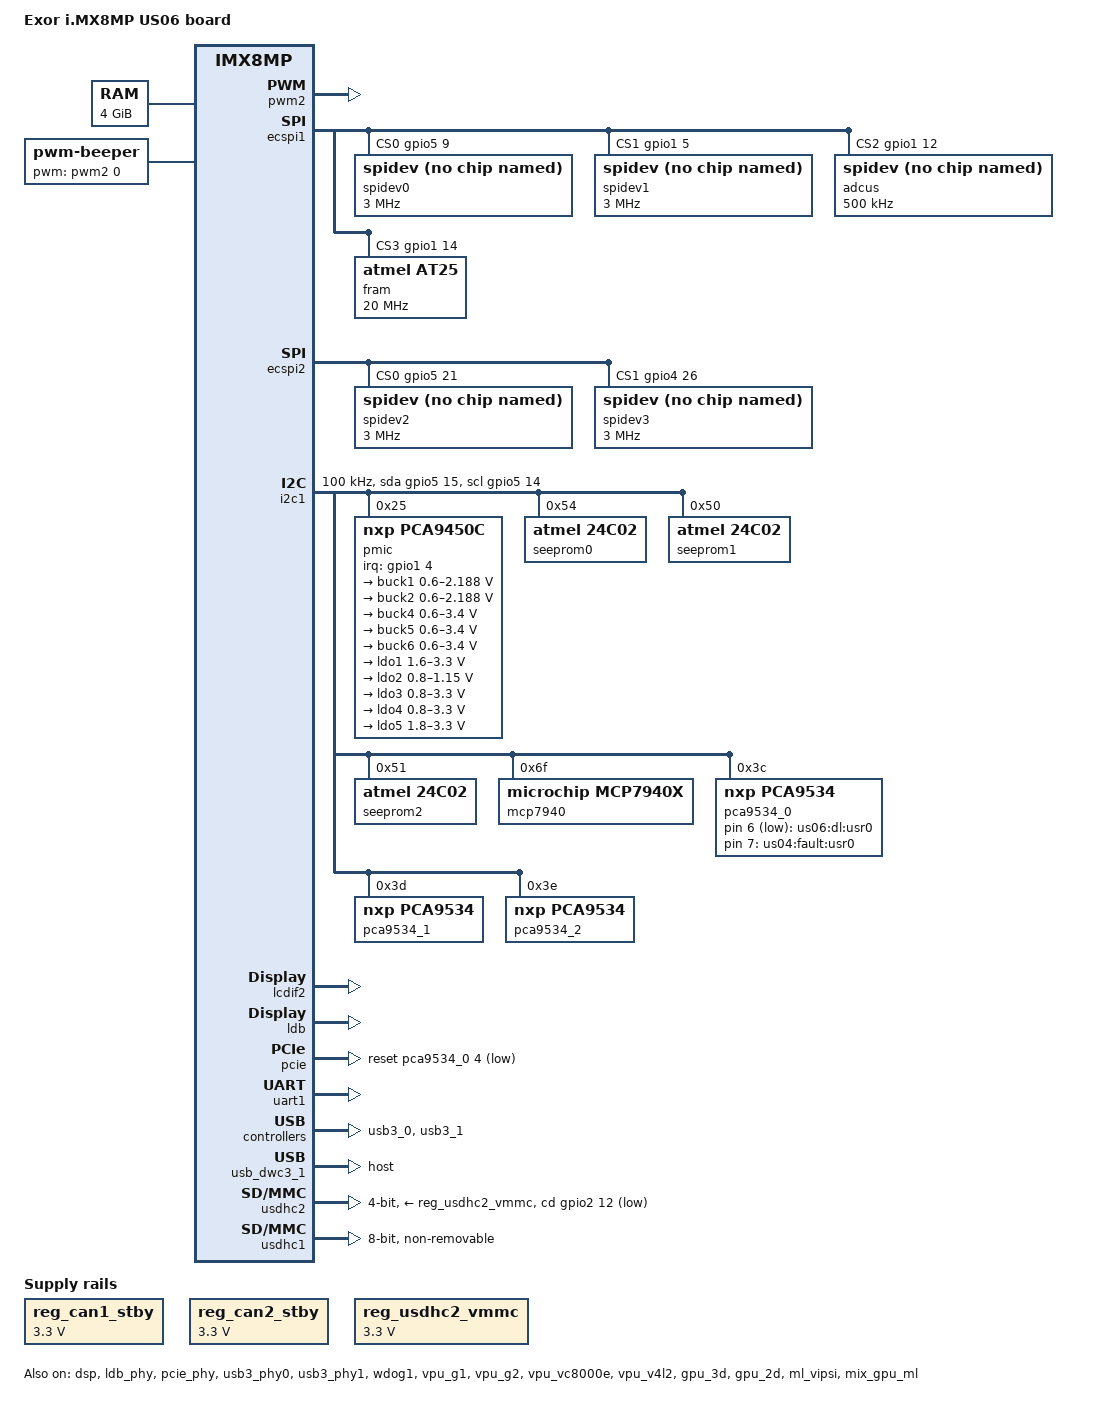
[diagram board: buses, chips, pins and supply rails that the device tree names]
// SPDX-License-Identifier: (GPL-2.0+ OR MIT)
/*
 * Copyright 2024 Exor Int. S.p.a.
 * Copyright 2019 NXP
 */

/dts-v1/;

#include <dt-bindings/usb/pd.h>
#include "imx8mp.dtsi"

/ {
	model = "Exor i.MX8MP US06 board";
	compatible = "fsl,imx8mp-evk", "fsl,imx8mp";

	aliases {
		mmc0 = &usdhc2;
		mmc1 = &usdhc1;
		spi0 = &ecspi1;
		spi1 = &ecspi2;
		can0 = &flexcan1;
		can1 = &flexcan2;
	};

//	chosen {
//		stdout-path = &uart1;
//	};

	gpio-leds {

		compatible = "gpio-leds";

		dlled@1 {
            label = "us06:dl:usr0";
            gpios = <&pca9534_0 6 1>;
            default-state = "on";
        };

        faultled@7 {
            label = "us04:fault:usr0";
            gpios = <&pca9534_0 7 0>;
            default-state = "off";
        };
	};

	memory@40000000 {
		device_type = "memory";
		reg = <0x0 0x40000000 0 0xc0000000>,
		      <0x1 0x00000000 0 0x40000000>;
	};

	reg_can1_stby: regulator-can1-stby {
		compatible = "regulator-fixed";
		regulator-name = "can1-stby";
		regulator-min-microvolt = <3300000>;
		regulator-max-microvolt = <3300000>;
		enable-active-high;
	};

	reg_can2_stby: regulator-can2-stby {
		compatible = "regulator-fixed";
		regulator-name = "can2-stby";
		regulator-min-microvolt = <3300000>;
		regulator-max-microvolt = <3300000>;
	};

	reg_usdhc2_vmmc: regulator-usdhc2 {
		compatible = "regulator-fixed";
		pinctrl-names = "default";
		pinctrl-0 = <&pinctrl_reg_usdhc2_vmmc>;
		regulator-name = "VSD_3V3";
		regulator-min-microvolt = <3300000>;
		regulator-max-microvolt = <3300000>;
	};

	beeper {
		compatible = "pwm-beeper";
		pwms = <&pwm2 0 50000 0>;
	};

};

&A53_0 {
	cpu-supply = <&buck2>;
};

&A53_1 {
	cpu-supply = <&buck2>;
};

&A53_2 {
	cpu-supply = <&buck2>;
};

&A53_3 {
	cpu-supply = <&buck2>;
};

&dsp {
	status = "okay";
};

&pwm2 { //Buzzer
	pinctrl-names = "default";
	pinctrl-0 = <&pinctrl_pwm2>;
	status = "okay";
};

&pwm4 { //DIMM
	pinctrl-names = "default";
	pinctrl-0 = <&pinctrl_pwm4>;
	status = "disabled";
};

&ecspi1 {
    fsl,spi-num-chipselects = <4>;
    cs-gpios = <&gpio5 9 0>,  /* CS0 */
               <&gpio1 5 0>,  /* CS1 */
               <&gpio1 12 0>, /* CS2 */
               <&gpio1 14 0>; /* CS3 */

	pinctrl-names = "default";
    pinctrl-0 = <&pinctrl_ecspi1>;
    status = "okay";
	/delete-property/dmas;
	/delete-property/dma-names;

    spidev0: spi0@0 {
        compatible = "generic,spidev";
        reg = <0>;
        spi-max-frequency = <3000000>;
    };

    spidev1: spi0@1 {
        compatible = "generic,spidev";
        reg = <1>;
        spi-max-frequency = <3000000>;
    };

    adcus: ads8028@2 { //Placeholder for ads8028 ADC
        compatible = "generic,spidev";
        reg = <2>;
        spi-max-frequency = <500000>;
    };

    fram: at25@3 {
        compatible = "atmel,at25", "st,m95256";
        reg = <3>;
        spi-max-frequency = <20000000>;
        pagesize = <64>;
        size = <65536>;
        address-width = <16>;
    };
};

&ecspi2 {
    fsl,spi-num-chipselects = <2>;
    cs-gpios = <&gpio5 21 0>,  /* CS0 */
               <&gpio4 26 0>;  /* CS1 */
    pinctrl-names = "default";
    pinctrl-0 = <&pinctrl_ecspi2>;
    status = "okay";

    spidev2: spi1@0 {
        compatible = "generic,spidev";
        reg = <0>;
        spi-max-frequency = <3000000>;
    };

    spidev3: spi1@1 {
        compatible = "generic,spidev";
        reg = <1>;
        spi-max-frequency = <3000000>;
    };
};

&flexcan1 {
	pinctrl-names = "default";
	pinctrl-0 = <&pinctrl_flexcan1>;
	xceiver-supply = <&reg_can1_stby>;
	status = "disabled";
};

&flexcan2 {
	pinctrl-names = "default";
	pinctrl-0 = <&pinctrl_flexcan2>;
	xceiver-supply = <&reg_can2_stby>;
	status = "disabled";
};

&i2c1 {
	clock-frequency = <100000>;
	pinctrl-names = "default", "gpio";
	pinctrl-0 = <&pinctrl_i2c1>;
	pinctrl-1 = <&pinctrl_i2c1_gpio>;
	scl-gpios = <&gpio5 14 GPIO_ACTIVE_HIGH>;
	sda-gpios = <&gpio5 15 GPIO_ACTIVE_HIGH>;
	status = "okay";

	pmic: pca9450@25 {
		reg = <0x25>;
		compatible = "nxp,pca9450c";
		/* PMIC PCA9450 PMIC_nINT GPIO1_IO3 */
		pinctrl-0 = <&pinctrl_pmic>;
		interrupt-parent = <&gpio1>;
		interrupts = <4 GPIO_ACTIVE_LOW>;

		regulators {
			buck1: BUCK1 {
				regulator-name = "BUCK1";
				regulator-min-microvolt = <600000>;
				regulator-max-microvolt = <2187500>;
				regulator-boot-on;
				regulator-always-on;
				regulator-ramp-delay = <3125>;
			};

			buck2: BUCK2 {
				regulator-name = "BUCK2";
				regulator-min-microvolt = <600000>;
				regulator-max-microvolt = <2187500>;
				regulator-boot-on;
				regulator-always-on;
				regulator-ramp-delay = <3125>;
				nxp,dvs-run-voltage = <950000>;
				nxp,dvs-standby-voltage = <850000>;
			};

			buck4: BUCK4{
				regulator-name = "BUCK4";
				regulator-min-microvolt = <600000>;
				regulator-max-microvolt = <3400000>;
				regulator-boot-on;
				regulator-always-on;
			};

			buck5: BUCK5{
				regulator-name = "BUCK5";
				regulator-min-microvolt = <600000>;
				regulator-max-microvolt = <3400000>;
				regulator-boot-on;
				regulator-always-on;
			};

			buck6: BUCK6 {
				regulator-name = "BUCK6";
				regulator-min-microvolt = <600000>;
				regulator-max-microvolt = <3400000>;
				regulator-boot-on;
				regulator-always-on;
			};

			ldo1: LDO1 {
				regulator-name = "LDO1";
				regulator-min-microvolt = <1600000>;
				regulator-max-microvolt = <3300000>;
				regulator-boot-on;
				regulator-always-on;
			};

			ldo2: LDO2 {
				regulator-name = "LDO2";
				regulator-min-microvolt = <800000>;
				regulator-max-microvolt = <1150000>;
				regulator-boot-on;
				regulator-always-on;
			};

			ldo3: LDO3 {
				regulator-name = "LDO3";
				regulator-min-microvolt = <800000>;
				regulator-max-microvolt = <3300000>;
				regulator-boot-on;
				regulator-always-on;
			};

			ldo4: LDO4 {
				regulator-name = "LDO4";
				regulator-min-microvolt = <800000>;
				regulator-max-microvolt = <3300000>;
				regulator-boot-on;
				regulator-always-on;
			};

			ldo5: LDO5 {
				regulator-name = "LDO5";
				regulator-min-microvolt = <1800000>;
				regulator-max-microvolt = <3300000>;
				regulator-boot-on;
				regulator-always-on;
			};
		};
	};

	seeprom0:seeprom0@54 {
        compatible = "atmel,24c02";
        reg = <0x54>;
    };

    seeprom1:seeprom1@50 {
        compatible = "atmel,24c02";
        reg = <0x50>;
    };

    seeprom2:seeprom2@51 {
        compatible = "atmel,24c02";
        reg = <0x51>;
    };

    mcp7940:mcp7940@6f {
        compatible = "microchip,mcp7940x";
        reg = <0x6f>;
    };

    pca9534_0: pca9534@3c {
        compatible = "nxp,pca9534";
        gpio-controller;
        #gpio-cells = <2>;
        reg = <0x3c>;
        restart-if-fails;
    };

    pca9534_1: pca9534@3d {
        compatible = "nxp,pca9534";
        gpio-controller;
        #gpio-cells = <2>;
        reg = <0x3d>;
    };

    pca9534_2: pca9534@3e {
        compatible = "nxp,pca9534";
        gpio-controller;
        #gpio-cells = <2>;
        reg = <0x3e>;
    };
};

&lcdif1 {
	status = "disabled";
};

&lcdif2 {
	status = "okay";
};

&lcdif3 {
	status = "disabled";

	thres-low  = <1 2>;             /* (FIFO * 1 / 2) */
	thres-high = <3 4>;             /* (FIFO * 3 / 4) */
};

&ldb {
	status = "okay";
};

&ldb_phy {
	status = "okay";
};

&pcie{
	reset-gpio = <&pca9534_0 4 GPIO_ACTIVE_LOW>;
	ext_osc = <1>;
	clocks = <&clk IMX8MP_CLK_HSIO_ROOT>,
		 <&clk IMX8MP_CLK_PCIE_AUX>,
		 <&clk IMX8MP_CLK_HSIO_AXI>,
		 <&clk IMX8MP_CLK_PCIE_ROOT>;
	clock-names = "pcie", "pcie_aux", "pcie_phy", "pcie_bus";
	assigned-clocks = <&clk IMX8MP_CLK_HSIO_AXI>,
			  <&clk IMX8MP_CLK_PCIE_AUX>;
	assigned-clock-rates = <500000000>, <10000000>;
	assigned-clock-parents = <&clk IMX8MP_SYS_PLL2_500M>,
				 <&clk IMX8MP_SYS_PLL2_50M>;
	l1ss-disabled;
	status = "okay";
};

&pcie_phy{
	ext_osc = <1>;
	status = "okay";
};

&uart1 {
	assigned-clocks = <&clk IMX8MP_CLK_UART1>;
	assigned-clock-parents = <&clk IMX8MP_SYS_PLL1_80M>;
	fsl,uart-has-rtscts;
	status = "okay";
};

&uart2 {
	assigned-clocks = <&clk IMX8MP_CLK_UART2>;
	assigned-clock-parents = <&clk IMX8MP_SYS_PLL1_80M>;
	fsl,uart-has-rtscts;
	status = "disabled";
};

&uart4 {
	assigned-clocks = <&clk IMX8MP_CLK_UART4>;
	assigned-clock-parents = <&clk IMX8MP_SYS_PLL1_80M>;
	fsl,uart-has-rtscts;
	status = "disabled";
};

&usb3_phy0 {
	fsl,phy-tx-vref-tune = <0xe>;
	fsl,phy-tx-preemp-amp-tune = <3>;
	fsl,phy-tx-vboost-level = <5>;
	fsl,phy-comp-dis-tune = <7>;
	fsl,pcs-tx-deemph-3p5db = <0x21>;
	fsl,phy-pcs-tx-swing-full = <0x7f>;
	status = "okay";
};

&usb3_0 {
	status = "okay";
};

&usb3_phy1 {
	fsl,phy-tx-preemp-amp-tune = <3>;
	fsl,phy-tx-vref-tune = <0xb>;
	status = "okay";
};

&usb3_1 {
	status = "okay";
};

&usb_dwc3_1 {
	dr_mode = "host";
	status = "okay";
};

&usdhc2 {
	assigned-clocks = <&clk IMX8MP_CLK_USDHC2>;
	assigned-clock-rates = <400000000>;
	pinctrl-names = "default";
	pinctrl-0 = <&pinctrl_usdhc2>, <&pinctrl_usdhc2_gpio>;
	cd-gpios = <&gpio2 12 GPIO_ACTIVE_LOW>;
	vmmc-supply = <&reg_usdhc2_vmmc>;
	bus-width = <4>;
	status = "okay";
};

&usdhc1 {
	assigned-clocks = <&clk IMX8MP_CLK_USDHC1>;
	assigned-clock-rates = <400000000>;
	pinctrl-names = "default", "state_100mhz", "state_200mhz";
	pinctrl-0 = <&pinctrl_usdhc1>;
	pinctrl-1 = <&pinctrl_usdhc1_100mhz>;
	pinctrl-2 = <&pinctrl_usdhc1_200mhz>;
	bus-width = <8>;
	non-removable;
	status = "okay";
};

&wdog1 {
	pinctrl-names = "default";
	pinctrl-0 = <&pinctrl_wdog>;
	fsl,ext-reset-output;
	status = "okay";
};

&iomuxc {
	pinctrl-names = "default";
	pinctrl-0 = <&pinctrl_hog>;

	imx8mm-evk {

	pinctrl_hog: hoggrp {
		fsl,pins = <
			MX8MP_IOMUXC_HDMI_DDC_SCL__HDMIMIX_HDMI_SCL	0x400001c3
			MX8MP_IOMUXC_HDMI_DDC_SDA__HDMIMIX_HDMI_SDA	0x400001c3
			MX8MP_IOMUXC_HDMI_HPD__HDMIMIX_HDMI_HPD		0x40000019
			MX8MP_IOMUXC_HDMI_CEC__HDMIMIX_HDMI_CEC		0x40000019
		>;
	};

	pinctrl_pwm2: pwm2grp {
		fsl,pins = <
			MX8MP_IOMUXC_GPIO1_IO11__PWM2_OUT	0x116
		>;
	};

	pinctrl_pwm4: pwm4grp {
		fsl,pins = <
			MX8MP_IOMUXC_GPIO1_IO15__PWM4_OUT	0x116
		>;
	};

	pinctrl_ecspi1: ecspi1grp {
		fsl,pins = <
			MX8MP_IOMUXC_ECSPI1_SCLK__ECSPI1_SCLK       0x82
			MX8MP_IOMUXC_ECSPI1_MOSI__ECSPI1_MOSI       0x82
			MX8MP_IOMUXC_ECSPI1_MISO__ECSPI1_MISO       0x82
			MX8MP_IOMUXC_ECSPI1_SS0__GPIO5_IO09         0x106
			MX8MP_IOMUXC_GPIO1_IO05__GPIO1_IO05         0x106
			MX8MP_IOMUXC_GPIO1_IO12__GPIO1_IO12         0x106
			MX8MP_IOMUXC_GPIO1_IO14__GPIO1_IO14         0x106
		>;
	};

	pinctrl_ecspi2: ecspi2grp {
		fsl,pins = <
			MX8MP_IOMUXC_I2C3_SDA__ECSPI2_MOSI       0x82
			MX8MP_IOMUXC_I2C4_SCL__ECSPI2_MISO       0x82
			MX8MP_IOMUXC_I2C3_SCL__ECSPI2_SCLK       0x82
			MX8MP_IOMUXC_I2C4_SDA__GPIO5_IO21        0x106
			MX8MP_IOMUXC_SAI2_TXD0__GPIO4_IO26       0x106
		>;
	};

	pinctrl_flexcan1: flexcan1grp {
		fsl,pins = <
			MX8MP_IOMUXC_SPDIF_RX__CAN1_RX          0x154
			MX8MP_IOMUXC_SPDIF_TX__CAN1_TX          0x154
		>;
	};

	pinctrl_flexcan2: flexcan2grp {
		fsl,pins = <
			MX8MP_IOMUXC_UART3_RXD__CAN2_TX		0x154
			MX8MP_IOMUXC_UART3_TXD__CAN2_RX		0x154
		>;
	};

	pinctrl_i2c1: i2c1grp {
		fsl,pins = <
			MX8MP_IOMUXC_I2C1_SCL__I2C1_SCL		0x400001c2
			MX8MP_IOMUXC_I2C1_SDA__I2C1_SDA		0x400001c2
		>;
	};

	pinctrl_i2c1_gpio: i2c1grpgpio {
		fsl,pins = <
			MX8MP_IOMUXC_I2C1_SCL__GPIO5_IO14        0x1c4
			MX8MP_IOMUXC_I2C1_SDA__GPIO5_IO15        0x1c4
		>;
	};

	pinctrl_pmic: pmicirq {
		fsl,pins = <
			MX8MP_IOMUXC_GPIO1_IO04__GPIO1_IO04	0x41
		>;
	};

	pinctrl_reg_usdhc2_vmmc: regusdhc2vmmcgrp {
		fsl,pins = <
			MX8MP_IOMUXC_SD2_RESET_B__GPIO2_IO19	0x41
		>;
	};

	pinctrl_usdhc2: usdhc2grp {
		fsl,pins = <
			MX8MP_IOMUXC_SD2_CLK__USDHC2_CLK	0x190
			MX8MP_IOMUXC_SD2_CMD__USDHC2_CMD	0x1d0
			MX8MP_IOMUXC_SD2_DATA0__USDHC2_DATA0	0x1d0
			MX8MP_IOMUXC_SD2_DATA1__USDHC2_DATA1	0x1d0
			MX8MP_IOMUXC_SD2_DATA2__USDHC2_DATA2	0x1d0
			MX8MP_IOMUXC_SD2_DATA3__USDHC2_DATA3	0x1d0
		>;
	};

	pinctrl_usdhc2_gpio: usdhc2gpiogrp {
		fsl,pins = <
			MX8MP_IOMUXC_SD2_CD_B__GPIO2_IO12	0x1c4
		>;
	};

	pinctrl_usdhc1: usdhc1grp {
		fsl,pins = <
			MX8MP_IOMUXC_SD1_CLK__USDHC1_CLK	0x190
			MX8MP_IOMUXC_SD1_CMD__USDHC1_CMD	0x1d0
			MX8MP_IOMUXC_SD1_DATA0__USDHC1_DATA0	0x1d0
			MX8MP_IOMUXC_SD1_DATA1__USDHC1_DATA1	0x1d0
			MX8MP_IOMUXC_SD1_DATA2__USDHC1_DATA2	0x1d0
			MX8MP_IOMUXC_SD1_DATA3__USDHC1_DATA3	0x1d0
			MX8MP_IOMUXC_SD1_DATA4__USDHC1_DATA4	0x1d0
			MX8MP_IOMUXC_SD1_DATA5__USDHC1_DATA5	0x1d0
			MX8MP_IOMUXC_SD1_DATA6__USDHC1_DATA6	0x1d0
			MX8MP_IOMUXC_SD1_DATA7__USDHC1_DATA7	0x1d0
			MX8MP_IOMUXC_SD1_STROBE__USDHC1_STROBE	0x190
		>;
	};

	pinctrl_usdhc1_100mhz: usdhc1-100mhzgrp {
		fsl,pins = <
			MX8MP_IOMUXC_SD1_CLK__USDHC1_CLK	0x194
			MX8MP_IOMUXC_SD1_CMD__USDHC1_CMD	0x1d4
			MX8MP_IOMUXC_SD1_DATA0__USDHC1_DATA0	0x1d4
			MX8MP_IOMUXC_SD1_DATA1__USDHC1_DATA1	0x1d4
			MX8MP_IOMUXC_SD1_DATA2__USDHC1_DATA2	0x1d4
			MX8MP_IOMUXC_SD1_DATA3__USDHC1_DATA3	0x1d4
			MX8MP_IOMUXC_SD1_DATA4__USDHC1_DATA4	0x1d4
			MX8MP_IOMUXC_SD1_DATA5__USDHC1_DATA5	0x1d4
			MX8MP_IOMUXC_SD1_DATA6__USDHC1_DATA6	0x1d4
			MX8MP_IOMUXC_SD1_DATA7__USDHC1_DATA7	0x1d4
			MX8MP_IOMUXC_SD1_STROBE__USDHC1_STROBE	0x194
		>;
	};

	pinctrl_usdhc1_200mhz: usdhc1-200mhzgrp {
		fsl,pins = <
			MX8MP_IOMUXC_SD1_CLK__USDHC1_CLK	0x196
			MX8MP_IOMUXC_SD1_CMD__USDHC1_CMD	0x1d6
			MX8MP_IOMUXC_SD1_DATA0__USDHC1_DATA0	0x1d6
			MX8MP_IOMUXC_SD1_DATA1__USDHC1_DATA1	0x1d6
			MX8MP_IOMUXC_SD1_DATA2__USDHC1_DATA2	0x1d6
			MX8MP_IOMUXC_SD1_DATA3__USDHC1_DATA3	0x1d6
			MX8MP_IOMUXC_SD1_DATA4__USDHC1_DATA4	0x1d6
			MX8MP_IOMUXC_SD1_DATA5__USDHC1_DATA5	0x1d6
			MX8MP_IOMUXC_SD1_DATA6__USDHC1_DATA6	0x1d6
			MX8MP_IOMUXC_SD1_DATA7__USDHC1_DATA7	0x1d6
			MX8MP_IOMUXC_SD1_STROBE__USDHC1_STROBE	0x196
		>;
	};

	pinctrl_wdog: wdoggrp {
		fsl,pins = <
			MX8MP_IOMUXC_GPIO1_IO02__WDOG1_WDOG_B	0xc6
		>;
	};
	};
};

&vpu_g1 {
	status = "okay";
};

&vpu_g2 {
	status = "okay";
};

&vpu_vc8000e {
	status = "okay";
};

&vpu_v4l2 {
	status = "okay";
};

&gpu_3d {
	status = "okay";
};

&gpu_2d {
	status = "okay";
};

&ml_vipsi {
	status = "okay";
};

&mix_gpu_ml {
	status = "okay";
};
